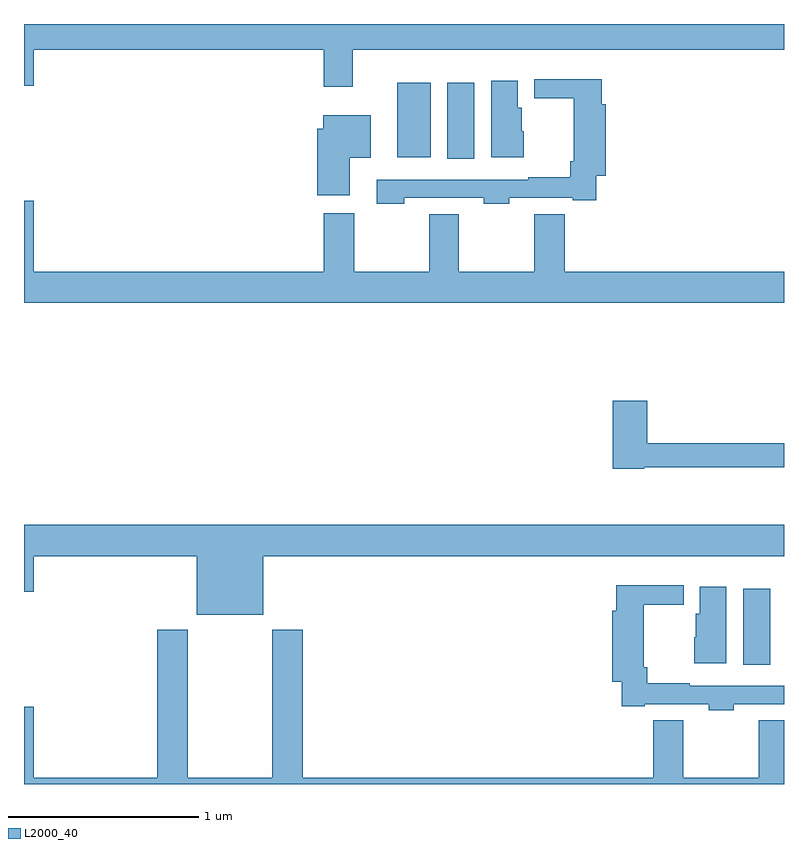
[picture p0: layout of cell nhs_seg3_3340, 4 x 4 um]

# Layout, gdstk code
import gdstk
lib = gdstk.Library(unit=1e-6, precision=1e-09)
def R(c, l, rs):  # rectangles x0, y0, x1, y1
    for r in rs: c.add(gdstk.rectangle(r[:2], r[2:], *l))
def P(c, l, *ps):  # polygons
    for p in ps: c.add(gdstk.Polygon(p, *l))
L2000_40 = (2000, 40)

nhs_seg3_3340 = lib.new_cell('nhs_seg3_3340')
R(nhs_seg3_3340, L2000_40, [(288.785,683.028,288.928,683.428), (287.228,685.692,287.371,686.092), (286.964,685.7,287.14,686.092)])
P(nhs_seg3_3340, L2000_40, [(286.729,686.264),(289,686.264),(289,686.4),(285,686.4),(285,686.076),(285.052,686.076),(285.052,686.264),(286.577,686.264),(286.577,686.07),(286.729,686.07)],
  [(287.001,685.485),(287.421,685.485),(287.421,685.453),(287.553,685.453),(287.553,685.485),(287.888,685.485),(287.888,685.473),(288.011,685.473),(288.011,685.601),(288.062,685.601),(288.062,685.977),(288.041,685.977),(288.041,686.11),(287.685,686.11),(287.685,686.008),(287.894,686.008),(287.894,685.678),(287.875,685.678),(287.875,685.594),(287.653,685.594),(287.653,685.581),(286.857,685.581),(286.857,685.453),(287.001,685.453)],
  [(287.629,685.836),(287.62,685.836),(287.62,685.959),(287.599,685.959),(287.599,686.101),(287.459,686.101),(287.459,685.7),(287.629,685.7)],
  [(286.714,685.697),(286.825,685.697),(286.825,685.921),(286.574,685.921),(286.574,685.848),(286.544,685.848),(286.544,685.5),(286.714,685.5)],
  [(289,685.096),(287.846,685.096),(287.846,685.4),(287.686,685.4),(287.686,685.096),(287.288,685.096),(287.288,685.4),(287.134,685.4),(287.134,685.096),(286.737,685.096),(286.737,685.405),(286.577,685.405),(286.577,685.096),(285.052,685.096),(285.052,685.471),(285,685.471),(285,684.932),(289,684.932)],
  [(288.264,684.066),(289,684.066),(289,684.194),(288.281,684.194),(288.281,684.418),(288.098,684.418),(288.098,684.058),(288.264,684.058)],
  [(286.258,683.6),(289,683.6),(289,683.764),(285,683.764),(285,683.412),(285.052,683.412),(285.052,683.6),(285.908,683.6),(285.908,683.291),(286.258,683.291)],
  [(288.735,682.821),(289,682.821),(289,682.917),(288.503,682.917),(288.503,682.93),(288.281,682.93),(288.281,683.014),(288.262,683.014),(288.262,683.344),(288.472,683.344),(288.472,683.446),(288.116,683.446),(288.116,683.313),(288.095,683.313),(288.095,682.937),(288.145,682.937),(288.145,682.809),(288.268,682.809),(288.268,682.821),(288.603,682.821),(288.603,682.789),(288.735,682.789)],
  [(288.697,683.437),(288.557,683.437),(288.557,683.295),(288.536,683.295),(288.536,683.172),(288.527,683.172),(288.527,683.036),(288.697,683.036)],
  [(289,682.736),(288.868,682.736),(288.868,682.432),(288.47,682.432),(288.47,682.736),(288.311,682.736),(288.311,682.432),(286.466,682.432),(286.466,683.212),(286.306,683.212),(286.306,682.432),(285.861,682.432),(285.861,683.212),(285.701,683.212),(285.701,682.432),(285.052,682.432),(285.052,682.807),(285,682.807),(285,682.4),(289,682.4)])

lib.write_gds('nhs_seg3_3340.gds')
